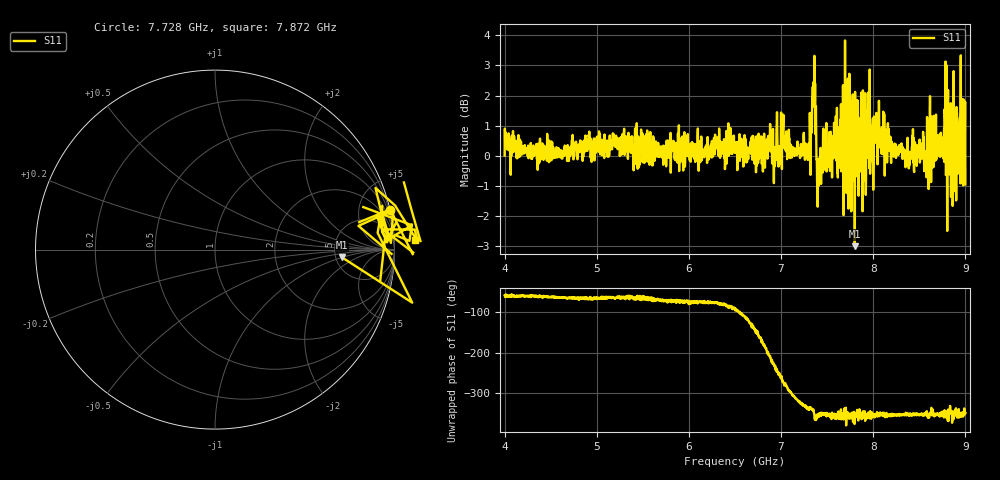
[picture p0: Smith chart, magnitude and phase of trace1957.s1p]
! Created with skrf 1.8.0 (http://scikit-rf.org).
# Hz S RI R 50.0
!freq ReS11 ImS11
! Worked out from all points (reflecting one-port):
!   1601 points, 4 GHz to 9 GHz, reference 50 ohm
!   lowest |S11| = -3.0 dB at 7.8 GHz (marker M1), VSWR 5.87, Z = 285 - j49.4 ohm
!   phase of S11 starts at -59 deg and turns -289 deg over the sweep
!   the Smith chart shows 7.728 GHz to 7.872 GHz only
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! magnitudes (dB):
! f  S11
! 4 GHz  0.0
! 4.625 GHz  -0.1
! 5.25 GHz  0.0
! 5.875 GHz  0.3
! 6.5 GHz  0.2
! 6.803 GHz  -0.5
! 6.869 GHz  0.4
! 6.922 GHz  -0.9
! 7.038 GHz  0.4
! 7.125 GHz  0.3
! 7.294 GHz  0.1
! 7.347 GHz  1.6
! 7.362 GHz  3.3
! 7.412 GHz  -0.5
! 7.466 GHz  0.7
! 7.75 GHz  0.9
! 7.784 GHz  -0.4
! 7.8 GHz  -3.0
! 7.928 GHz  1.0
! 7.981 GHz  0.4
! 8.038 GHz  0.9
! 8.375 GHz  0.3
! 8.581 GHz  -0.1
! 8.8 GHz  0.7
! 8.875 GHz  -0.4
! 8.959 GHz  1.9
! 8.972 GHz  1.0
! 9 GHz  -0.9
